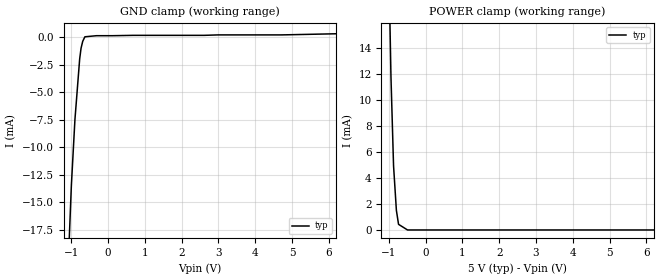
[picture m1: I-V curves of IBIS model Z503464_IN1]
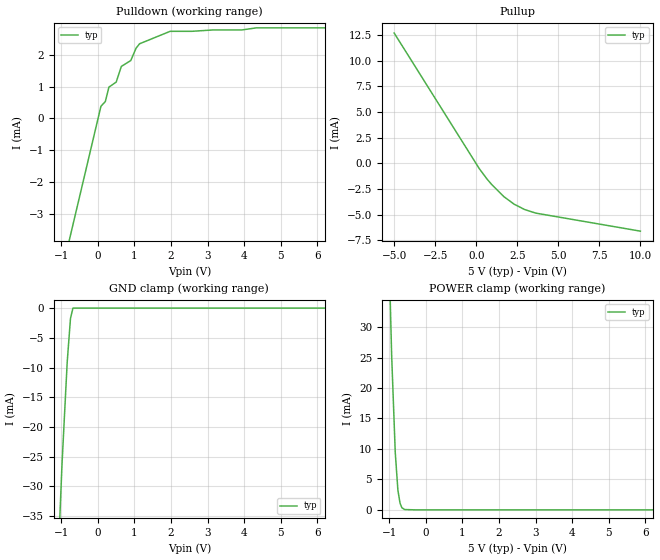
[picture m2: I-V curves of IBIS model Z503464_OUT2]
| YOU ARE ONLY AUTHORIZED TO USE THIS SOFTWARE
| ACCORDING TO LICENSOR'S LICENSE RESTRICTIONS.
[IBIS Ver] 3.1
[File Name] mc14011bcl.ibs
[File Rev] 2.0
[Source] Measured and created by ICX Technology
[Date] Friday 7/14/00 9:07:51 AM
[Copyright]
| (C) COPYRIGHT 1993-2000
| MENTOR GRAPHICS CORPORATION
| ICX STANDARD LIBRARY, ICX PROJECT MODELING,
| ICX CUSTOM MODELING, ICX VENDOR MODEL
| ALL RIGHTS RESERVED.
| THE FOLLOWING ARE TRADEMARKS OR SERVICE MARKS OF
| MENTOR GRAPHICS CORPORATION:ICX (R), ICX STANDARD
| LIBRARY(R), ICX PROJECT MODELING(R), ICX CUSTOM
| MODELING(R), qualityIBIS(TM), MODELVIEWER(TM),
| AND MODELEDITOR(TM)
| ALL COPIES OF SOFTWARE, INCLUDING BUT NOT LIMITED TO
| ANY MODIFICATIONS, ENHANCEMENTS OR DERIVATIVE WORKS,
| MUST CONTAIN ALL MENTOR GRAPHICS CORPORATION'S
| NOTICES AND LEGENDS, INCLUDING THOSE EMBEDDED IN
| SOFTWARE AND THOSE AFFIXED TO SOFTWARE MEDIUM
| AND CONTAINER, AS RECEIVED FROM MENTOR GRAPHICS
| CORPORATION.
|  ZAP Model Builder 2.7
[Component] MC14011BCL
[Manufacturer] OnSemiconductor
[Package]
| variable   typ   min   max
R_pkg  .21ohms NA NA
L_pkg  4.543nH NA NA
C_pkg  1.8pF NA NA
[Pin] signal_name  model_name  R_pin  L_pin C_pin
1 IN1A Z503464_IN1 .22 6.757n 2.434p
2 IN2A Z503464_IN1 .212 4.757n 1.941p
3 OUTA Z503464_OUT2 .204 3.257n 1.448p
4 OUTB Z503464_OUT2 .196 2.257n .955p
5 IN1B Z503464_IN1 .204 3.257n 1.448p
6 IN2B Z503464_IN1 .212 4.757n 1.941p
7 VSS POWER .22 6.757n 2.434p
8 IN1C Z503464_IN1 .22 6.757n 2.434p
9 IN2C Z503464_IN1 .212 4.757n 1.941p
10 OUTC Z503464_OUT2 .204 3.257n 1.448p
11 OUTD Z503464_OUT2 .196 2.257n .955p
12 IN1D Z503464_IN1 .204 3.257n 1.448p
13 IN2D Z503464_IN1 .212 4.757n 1.941p
14 VDD POWER .22 6.757n 2.434p
| Models and submodels in the file (2): Z503464_IN1 (Input), Z503464_OUT2 (Output)
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| (C) COPYRIGHT 1993-2000
| MENTOR GRAPHICS CORPORATION
| ICX STANDARD LIBRARY, ICX PROJECT MODELING,
| ICX CUSTOM MODELING, ICX VENDOR MODEL
| ALL RIGHTS RESERVED.
| THE FOLLOWING ARE TRADEMARKS OR SERVICE MARKS OF
| MENTOR GRAPHICS CORPORATION:ICX (R), ICX STANDARD
| LIBRARY(R), ICX PROJECT MODELING(R), ICX CUSTOM
| MODELING(R), qualityIBIS(TM), MODELVIEWER(TM),
| AND MODELEDITOR(TM)
| ALL COPIES OF SOFTWARE, INCLUDING BUT NOT LIMITED TO
| ANY MODIFICATIONS, ENHANCEMENTS OR DERIVATIVE WORKS,
| MUST CONTAIN ALL MENTOR GRAPHICS CORPORATION'S
| NOTICES AND LEGENDS, INCLUDING THOSE EMBEDDED IN
| SOFTWARE AND THOSE AFFIXED TO SOFTWARE MEDIUM
| AND CONTAINER, AS RECEIVED FROM MENTOR GRAPHICS
| CORPORATION.
| Model Application Version 1.89 2/18/99.
[Model] Z503464_IN1
Model_type Input
Vinl = 1.500V
Vinh = 3.500V
C_comp 4.000pF NA NA
| variable typ   min   max
[Voltage Range] 5.000V NA NA
[GND Clamp Reference] 0.000V NA NA
[POWER Clamp Reference] 5.000V NA NA
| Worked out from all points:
|   GND clamp passes 1 mA (typ) near -0.73 V on its own axis
|   POWER clamp passes 1 mA (typ) near -0.76 V on its own axis
[GND Clamp]
-5V       -643.9mA   NA         NA
-1.123V   -24.27mA   NA         NA
-995.4mV  -13.48mA   NA         NA
-898.4mV  -7.473mA   NA         NA
-769.4mV  -1.944mA   NA         NA
-731.8mV  -972.7uA   NA         NA
-687.1mV  -351.2uA   NA         NA
-627.8mV  64.15uA    NA         NA
-313.9mV  163.2uA    NA         NA
684.8mV   195.8uA    NA         NA
4.724V    236.6uA    NA         NA
10V       605.7uA    NA         NA
[POWER Clamp]
-5V       1.244A     NA         NA
-1.216V   70.55mA    NA         NA
-1.074V   35.15mA    NA         NA
-1.01V    22.4mA     NA         NA
-938mV    11.76mA    NA         NA
-868mV    4.942mA    NA         NA
-791mV    1.511mA    NA         NA
-732mV    432.1uA    NA         NA
-488mV    0A         NA         NA
10V       0A         NA         NA
| (C) COPYRIGHT 1993-2000
| MENTOR GRAPHICS CORPORATION
| ICX STANDARD LIBRARY, ICX PROJECT MODELING,
| ICX CUSTOM MODELING, ICX VENDOR MODEL
| ALL RIGHTS RESERVED.
| THE FOLLOWING ARE TRADEMARKS OR SERVICE MARKS OF
| MENTOR GRAPHICS CORPORATION:ICX (R), ICX STANDARD
| LIBRARY(R), ICX PROJECT MODELING(R), ICX CUSTOM
| MODELING(R), qualityIBIS(TM), MODELVIEWER(TM),
| AND MODELEDITOR(TM)
| ALL COPIES OF SOFTWARE, INCLUDING BUT NOT LIMITED TO
| ANY MODIFICATIONS, ENHANCEMENTS OR DERIVATIVE WORKS,
| MUST CONTAIN ALL MENTOR GRAPHICS CORPORATION'S
| NOTICES AND LEGENDS, INCLUDING THOSE EMBEDDED IN
| SOFTWARE AND THOSE AFFIXED TO SOFTWARE MEDIUM
| AND CONTAINER, AS RECEIVED FROM MENTOR GRAPHICS
| CORPORATION.
| Model Application Version 1.89 2/18/99.
[Model] Z503464_OUT2
Model_type Output
Vref=0.000V
Rref=500.0Mohms
Cref=50.00pF
Vmeas=2.500V
C_comp 8.000pF NA NA
| variable typ   min   max
[Voltage Range] 5.000V NA NA
[POWER Clamp Reference] 5.000V NA NA
[Pullup Reference] 5.000V NA NA
[Pulldown Reference] 0.000V NA NA
[GND Clamp Reference] 0.000V NA NA
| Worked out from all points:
|   slope of the pulldown table from 0 to 0.75 V, typ, clamps not added: 430 ohm
|   slope of the pullup table from 0 to 0.75 V, typ, clamps not added: 452 ohm
|   GND clamp passes 1 mA (typ) near -0.72 V on its own axis
|   POWER clamp passes 1 mA (typ) near -0.70 V on its own axis
[GND Clamp]
-5V       -624.7mA   NA         NA
-975.1mV  -26.11mA   NA         NA
-834.7mV  -9.101mA   NA         NA
-744.7mV  -1.727mA   NA         NA
-677mV    0A         NA         NA
10V       0A         NA         NA
[Pulldown]
-5V       -24.29mA   NA         NA
87.28mV   383.4uA    NA         NA
207.1mV   530.6uA    NA         NA
305.5mV   981.9uA    NA         NA
504.8mV   1.141mA    NA         NA
644.6mV   1.63mA     NA         NA
903.2mV   1.815mA    NA         NA
1.045V    2.197mA    NA         NA
1.142V    2.339mA    NA         NA
1.978V    2.729mA    NA         NA
4.336V    2.838mA    NA         NA
10V       2.838mA    NA         NA
[Pullup]
-5V       12.71mA    NA         NA
180mV     -502.6uA   NA         NA
664mV     -1.544mA   NA         NA
942mV     -2.063mA   NA         NA
1.688V    -3.252mA   NA         NA
2.315V    -3.989mA   NA         NA
2.949V    -4.504mA   NA         NA
3.628V    -4.853mA   NA         NA
10V       -6.611mA   NA         NA
[POWER Clamp]
-5V       979.8mA    NA         NA
-933mV    25.47mA    NA         NA
-834mV    9.416mA    NA         NA
-762mV    3.233mA    NA         NA
-703mV    1.088mA    NA         NA
-654mV    363.1uA    NA         NA
-581mV    52.29uA    NA         NA
-290.5mV  0A         NA         NA
10V       0A         NA         NA
[Ramp]
| variable typ min max
dV/dt_r 2.547/14.37n NA NA
dV/dt_f 2.547/12.16n NA NA
R_load = 2.500kOhms
